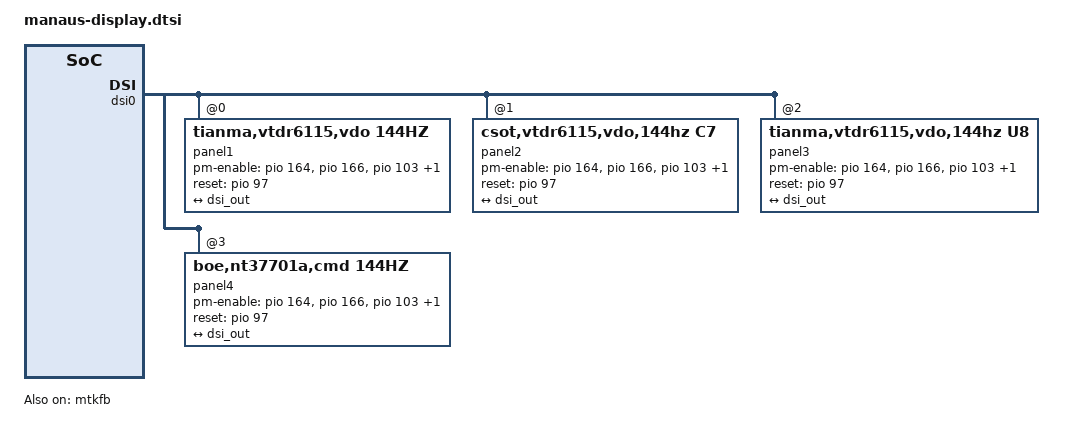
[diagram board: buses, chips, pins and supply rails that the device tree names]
/* Copyright (c) 2021, The Linux Foundation. All rights reserved.
 *
 * This program is free software; you can redistribute it and/or modify
 * it under the terms of the GNU General Public License version 2 and
 * only version 2 as published by the Free Software Foundation.
 *
 * This program is distributed in the hope that it will be useful,
 * but WITHOUT ANY WARRANTY; without even the implied warranty of
 * MERCHANTABILITY or FITNESS FOR A PARTICULAR PURPOSE.  See the
 * GNU General Public License for more details.
 */

&dispsys_config {
	force_dyn_mipi_change;
};

&mtk_leds {
	/delete-property/ compatible;
	/delete-property/ led_mode;
	/delete-property/ gate_enable;
	/delete-property/ pwm_config;

	compatible = "mediatek,disp-leds";
	backlight {
		label = "lcd-backlight";
		led_mode = <4>;
		max-brightness = <4095>;
		max-hw-brightness = <4095>;
		default-brightness = <2577>;
	};
};

&mtkfb {
	/delete-property/ pinctrl-names;
	/delete-property/ pinctrl-0;
	/delete-property/ pinctrl-1;
	/delete-property/ pinctrl-2;
	/delete-property/ pinctrl-3;
	/delete-property/ pinctrl-4;
	/delete-property/ pinctrl-5;
	/delete-property/ pinctrl-6;

	pinctrl-names = "lcm_rst_out0_gpio", "mode_te_te",
		"oled_vci_en_gpio", "oled_vio_en_gpio",
		"oled_dvdd_en0_gpio", "oled_dvdd_en1_gpio";
	pinctrl-0 = <&mtkfb_pins_lcm_rst_out0_gpio>;
	pinctrl-1 = <&mtkfb_pins_lcm_dsi_te>;
	pinctrl-2 = <&mtkfb_pins_oled_vci_en>;
	pinctrl-3 = <&mtkfb_pins_oled_vio_en>;

	pinctrl-4 = <&mtkfb_pins_oled_avdd_en0>;
	pinctrl-5 = <&mtkfb_pins_oled_avdd_en1>;
	status = "okay";

};

&pio {
	mtkfb_pins_oled_vci_en: oled_vci_en_gpio {
		pins_cmd_dat {
			pinmux = <PINMUX_GPIO166__FUNC_GPIO166>;
			slew-rate = <1>;
			output-low;
		};
	};

	mtkfb_pins_oled_vio_en: oled_vio_en_gpio {
		pins_cmd_dat {
			pinmux = <PINMUX_GPIO164__FUNC_GPIO164>;
			slew-rate = <1>;
			output-low;
		};
	};

	mtkfb_pins_oled_avdd_en0: oled_dvdd_en0_gpio {
		pins_cmd_dat {
			pinmux = <PINMUX_GPIO103__FUNC_GPIO103>;
			slew-rate = <1>;
			output-low;
		};
	};

	mtkfb_pins_oled_avdd_en1: oled_dvdd_en1_gpio {
		pins_cmd_dat {
			pinmux = <PINMUX_GPIO165__FUNC_GPIO165>;
			slew-rate = <1>;
			output-low;
		};
	};

};

&panel1 {
	/delete-node/ port@0;
};

&dsi0 {
	status = "okay";

	panel1@0 {
		/delete-property/ compatible;
		/delete-property/ pm-enable-gpios;
		/delete-property/ reset-gpios;
		/delete-property/gate-ic;

		compatible = "tianma,vtdr6115,vdo,144hz";
		reg = <0>;
		pm-enable-gpios = <&pio 164 0>,
                          <&pio 166 0>,
                          <&pio 103 0>,
                          <&pio 165 0>;
		reset-gpios = <&pio 97 0>;
		pinctrl-names = "default";
		lhbm-enable;
		port {
			panel_in1: endpoint {
				remote-endpoint = <&dsi_out>;
			};
		};
	};

	panel2@0 {
		/delete-property/ compatible;
		/delete-property/ pm-enable-gpios;
		/delete-property/ reset-gpios;
		/delete-property/gate-ic;

		compatible = "csot,vtdr6115,vdo,144hz,c7";
		reg = <1>;
		pm-enable-gpios = <&pio 164 0>,
                          <&pio 166 0>,
                          <&pio 103 0>,
                          <&pio 165 0>;
		reset-gpios = <&pio 97 0>;
		pinctrl-names = "default";
		lhbm-enable;
		port {
			panel_in2: endpoint {
				remote-endpoint = <&dsi_out>;
			};
		};
	};

	panel3@0 {
		/delete-property/ compatible;
		/delete-property/ pm-enable-gpios;
		/delete-property/ reset-gpios;
		/delete-property/gate-ic;

		compatible = "tianma,vtdr6115,vdo,144hz,u8";
		reg = <2>;
		pm-enable-gpios = <&pio 164 0>,
                          <&pio 166 0>,
                          <&pio 103 0>,
                          <&pio 165 0>;
		reset-gpios = <&pio 97 0>;
		pinctrl-names = "default";
		lhbm-enable;
		port {
			panel_in3: endpoint {
				remote-endpoint = <&dsi_out>;
			};
		};
	};

	panel4@0 {
		/delete-property/ compatible;
		/delete-property/ pm-enable-gpios;
		/delete-property/ reset-gpios;
		/delete-property/gate-ic;

		compatible = "boe,nt37701a,cmd,144hz";
		reg = <3>;
		pm-enable-gpios = <&pio 164 0>,
                          <&pio 166 0>,
                          <&pio 103 0>,
                          <&pio 165 0>;
		reset-gpios = <&pio 97 0>;
		pinctrl-names = "default";
		lhbm-enable;
		port {
			panel_in4: endpoint {
				remote-endpoint = <&dsi_out>;
			};
		};
	};
};
